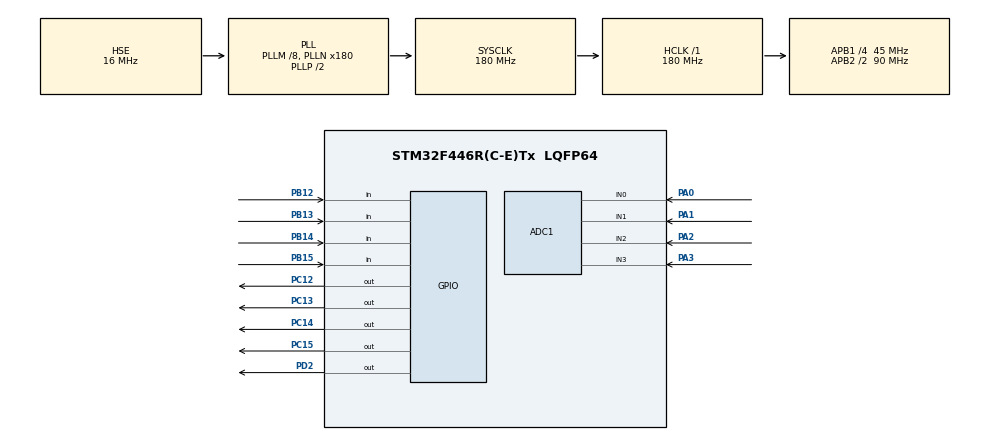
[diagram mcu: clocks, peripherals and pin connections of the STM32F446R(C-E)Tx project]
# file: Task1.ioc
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ADC1.Channel-0\#ChannelRegularConversion=ADC_CHANNEL_0
ADC1.Channel-1\#ChannelRegularConversion=ADC_CHANNEL_1
ADC1.Channel-2\#ChannelRegularConversion=ADC_CHANNEL_2
ADC1.Channel-3\#ChannelRegularConversion=ADC_CHANNEL_3
ADC1.DMAContinuousRequests=ENABLE
ADC1.NbrOfConversion=4
ADC1.NbrOfConversionFlag=1
ADC1.Rank-0\#ChannelRegularConversion=1
ADC1.Rank-1\#ChannelRegularConversion=2
ADC1.Rank-2\#ChannelRegularConversion=3
ADC1.Rank-3\#ChannelRegularConversion=4
ADC1.SamplingTime-0\#ChannelRegularConversion=ADC_SAMPLETIME_15CYCLES
ADC1.SamplingTime-1\#ChannelRegularConversion=ADC_SAMPLETIME_15CYCLES
ADC1.SamplingTime-2\#ChannelRegularConversion=ADC_SAMPLETIME_15CYCLES
ADC1.SamplingTime-3\#ChannelRegularConversion=ADC_SAMPLETIME_15CYCLES
ADC1.ScanConvMode=ENABLE
ADC1.master=1
Dma.ADC1.0.Direction=DMA_PERIPH_TO_MEMORY
Dma.ADC1.0.FIFOMode=DMA_FIFOMODE_DISABLE
Dma.ADC1.0.Instance=DMA2_Stream0
Dma.ADC1.0.MemDataAlignment=DMA_MDATAALIGN_HALFWORD
Dma.ADC1.0.MemInc=DMA_MINC_ENABLE
Dma.ADC1.0.Mode=DMA_NORMAL
Dma.ADC1.0.PeriphDataAlignment=DMA_PDATAALIGN_HALFWORD
Dma.ADC1.0.PeriphInc=DMA_PINC_DISABLE
Dma.ADC1.0.Priority=DMA_PRIORITY_LOW
Dma.Request0=ADC1
Mcu.Family=STM32F4
Mcu.Name=STM32F446R(C-E)Tx
Mcu.Package=LQFP64
NVIC.ADC_IRQn=true\:0\:0\:false\:false\:true\:true\:true\:true
NVIC.DMA2_Stream0_IRQn=true\:0\:0\:false\:false\:true\:false\:true\:true
NVIC.PriorityGroup=NVIC_PRIORITYGROUP_4
NVIC.TIM6_DAC_IRQn=true\:0\:0\:false\:false\:true\:true\:true\:true
NVIC.TIM8_UP_TIM13_IRQn=true\:0\:0\:false\:false\:true\:true\:true\:true
PA0-WKUP.Signal=ADCx_IN0
PA1.Signal=ADCx_IN1
PA13.Mode=Serial_Wire
PA13.Signal=SYS_JTMS-SWDIO
PA14.Mode=Serial_Wire
PA14.Signal=SYS_JTCK-SWCLK
PA2.Signal=ADCx_IN2
PA3.Signal=ADCx_IN3
PB12.Signal=GPIO_Input
PB13.Signal=GPIO_Input
PB14.Signal=GPIO_Input
PB15.Signal=GPIO_Input
PC12.Signal=GPIO_Output
PC13.Signal=GPIO_Output
PC14-OSC32_IN.Signal=GPIO_Output
PC15-OSC32_OUT.Signal=GPIO_Output
PD2.Signal=GPIO_Output
PH0-OSC_IN.Mode=HSE-External-Oscillator
PH0-OSC_IN.Signal=RCC_OSC_IN
PH1-OSC_OUT.Mode=HSE-External-Oscillator
PH1-OSC_OUT.Signal=RCC_OSC_OUT
ProjectManager.HeapSize=0x200
ProjectManager.StackSize=0x400
ProjectManager.TargetToolchain=STM32CubeIDE
RCC.AHBFreq_Value=180000000
RCC.APB1CLKDivider=RCC_HCLK_DIV4
RCC.APB1Freq_Value=45000000
RCC.APB1TimFreq_Value=90000000
RCC.APB2CLKDivider=RCC_HCLK_DIV2
RCC.APB2Freq_Value=90000000
RCC.APB2TimFreq_Value=180000000
RCC.CortexFreq_Value=180000000
RCC.HCLKFreq_Value=180000000
RCC.HSE_VALUE=16000000
RCC.PLLM=8
RCC.PLLN=180
RCC.PLLSourceVirtual=RCC_PLLSOURCE_HSE
RCC.SYSCLKFreq_VALUE=180000000
RCC.SYSCLKSource=RCC_SYSCLKSOURCE_PLLCLK
RCC.USBFreq_Value=180000000
RCC.VCOOutputFreq_Value=360000000
SH.ADCx_IN0.0=ADC1_IN0,IN0
SH.ADCx_IN1.0=ADC1_IN1,IN1
SH.ADCx_IN2.0=ADC1_IN2,IN2
SH.ADCx_IN3.0=ADC1_IN3,IN3
TIM6.Period=2500-1
TIM6.Prescaler=9000-1
TIM8.Period=10000-1
TIM8.Prescaler=180-1
VP_TIM6_VS_ClockSourceINT.Mode=Enable_Timer
VP_TIM8_VS_ClockSourceINT.Mode=Internal
board=custom

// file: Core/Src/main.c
/* USER CODE BEGIN Header */
/**
  ******************************************************************************
  * @file           : main.c
  * @brief          : Main program body
  ******************************************************************************
  * @attention
  *
  * Copyright (c) 2024 STMicroelectronics.
  * All rights reserved.
  *
  * This software is licensed under terms that can be found in the LICENSE file
  * in the root directory of this software component.
  * If no LICENSE file comes with this software, it is provided AS-IS.
  *
  ******************************************************************************
  */
/* USER CODE END Header */
#include "main.h"
#include "adc.h"
#include "dma.h"
#include "tim.h"
#include "gpio.h"

/* USER CODE BEGIN PV */
uint8_t cntPD2 = 0;

/* USER CODE END PV */

void SystemClock_Config(void);

int main(void)
{

  /* MCU Configuration--------------------------------------------------------*/

  /* Reset of all peripherals, Initializes the Flash interface and the Systick. */
  HAL_Init();

  /* Configure the system clock */
  SystemClock_Config();

  /* Initialize all configured peripherals */
  MX_GPIO_Init();
  MX_DMA_Init();
  MX_TIM8_Init();
  MX_ADC1_Init();
  MX_TIM6_Init();
  /* USER CODE BEGIN 2 */
	HAL_TIM_Base_Start_IT(&htim6);
	HAL_GPIO_WritePin(GPIOC, GPIO_PIN_12, 1);
	HAL_GPIO_WritePin(GPIOC, GPIO_PIN_13, 1);
	HAL_GPIO_WritePin(GPIOC, GPIO_PIN_14, 1);
	HAL_GPIO_WritePin(GPIOC, GPIO_PIN_15, 1);

  /* USER CODE END 2 */

  /* Infinite loop */
  while (1)
  {

  }
}

void SystemClock_Config(void)
{
  RCC_OscInitTypeDef RCC_OscInitStruct = {0};
  RCC_ClkInitTypeDef RCC_ClkInitStruct = {0};

  /** Configure the main internal regulator output voltage
  */
  __HAL_RCC_PWR_CLK_ENABLE();
  __HAL_PWR_VOLTAGESCALING_CONFIG(PWR_REGULATOR_VOLTAGE_SCALE1);

  /** Initializes the RCC Oscillators according to the specified parameters
  * in the RCC_OscInitTypeDef structure.
  */
  RCC_OscInitStruct.OscillatorType = RCC_OSCILLATORTYPE_HSE;
  RCC_OscInitStruct.HSEState = RCC_HSE_ON;
  RCC_OscInitStruct.PLL.PLLState = RCC_PLL_ON;
  RCC_OscInitStruct.PLL.PLLSource = RCC_PLLSOURCE_HSE;
  RCC_OscInitStruct.PLL.PLLM = 8;
  RCC_OscInitStruct.PLL.PLLN = 180;
  RCC_OscInitStruct.PLL.PLLP = RCC_PLLP_DIV2;
  RCC_OscInitStruct.PLL.PLLQ = 2;
  RCC_OscInitStruct.PLL.PLLR = 2;
  if (HAL_RCC_OscConfig(&RCC_OscInitStruct) != HAL_OK)
  {
    Error_Handler();
  }

  /** Activate the Over-Drive mode
  */
  if (HAL_PWREx_EnableOverDrive() != HAL_OK)
  {
    Error_Handler();
  }

  /** Initializes the CPU, AHB and APB buses clocks
  */
  RCC_ClkInitStruct.ClockType = RCC_CLOCKTYPE_HCLK|RCC_CLOCKTYPE_SYSCLK
                              |RCC_CLOCKTYPE_PCLK1|RCC_CLOCKTYPE_PCLK2;
  RCC_ClkInitStruct.SYSCLKSource = RCC_SYSCLKSOURCE_PLLCLK;
  RCC_ClkInitStruct.AHBCLKDivider = RCC_SYSCLK_DIV1;
  RCC_ClkInitStruct.APB1CLKDivider = RCC_HCLK_DIV4;
  RCC_ClkInitStruct.APB2CLKDivider = RCC_HCLK_DIV2;

  if (HAL_RCC_ClockConfig(&RCC_ClkInitStruct, FLASH_LATENCY_5) != HAL_OK)
  {
    Error_Handler();
  }
}

/* USER CODE BEGIN 4 */
void HAL_TIM_PeriodElapsedCallback(TIM_HandleTypeDef *htim){
	if(htim->Instance == TIM6){
		if(cntPD2 == 1){
			/* <Task1-1> */
			HAL_GPIO_TogglePin(GPIOD, GPIO_PIN_2);
			HAL_TIM_Base_Start_IT(&htim6);
			cntPD2 = 0;
		}else{
			cntPD2++;
		}

		/* <Task1-2-1> */
		if(!(HAL_GPIO_ReadPin(GPIOB, GPIO_PIN_12))){
			HAL_GPIO_TogglePin(GPIOC, GPIO_PIN_12);
		}else{
			HAL_GPIO_WritePin(GPIOC, GPIO_PIN_12, 1);
		}

		/* <Task1-2-2> */
		if(!(HAL_GPIO_ReadPin(GPIOB, GPIO_PIN_13))){
			HAL_GPIO_TogglePin(GPIOC, GPIO_PIN_13);
		}else{
			HAL_GPIO_WritePin(GPIOC, GPIO_PIN_13, 1);
		}

		/* <Task1-2-3> */
		if(!(HAL_GPIO_ReadPin(GPIOB, GPIO_PIN_14))){
			HAL_GPIO_TogglePin(GPIOC, GPIO_PIN_14);
		}else{
			HAL_GPIO_WritePin(GPIOC, GPIO_PIN_14, 1);
		}

		/* <Task1-2-4> */
		if(!(HAL_GPIO_ReadPin(GPIOB, GPIO_PIN_15))){
			HAL_GPIO_TogglePin(GPIOC, GPIO_PIN_15);
		}else{
			HAL_GPIO_WritePin(GPIOC, GPIO_PIN_15, 1);
		}
	}
}

/* USER CODE END 4 */

void Error_Handler(void)
{
  __disable_irq();
  while (1)
  {
  }
}
